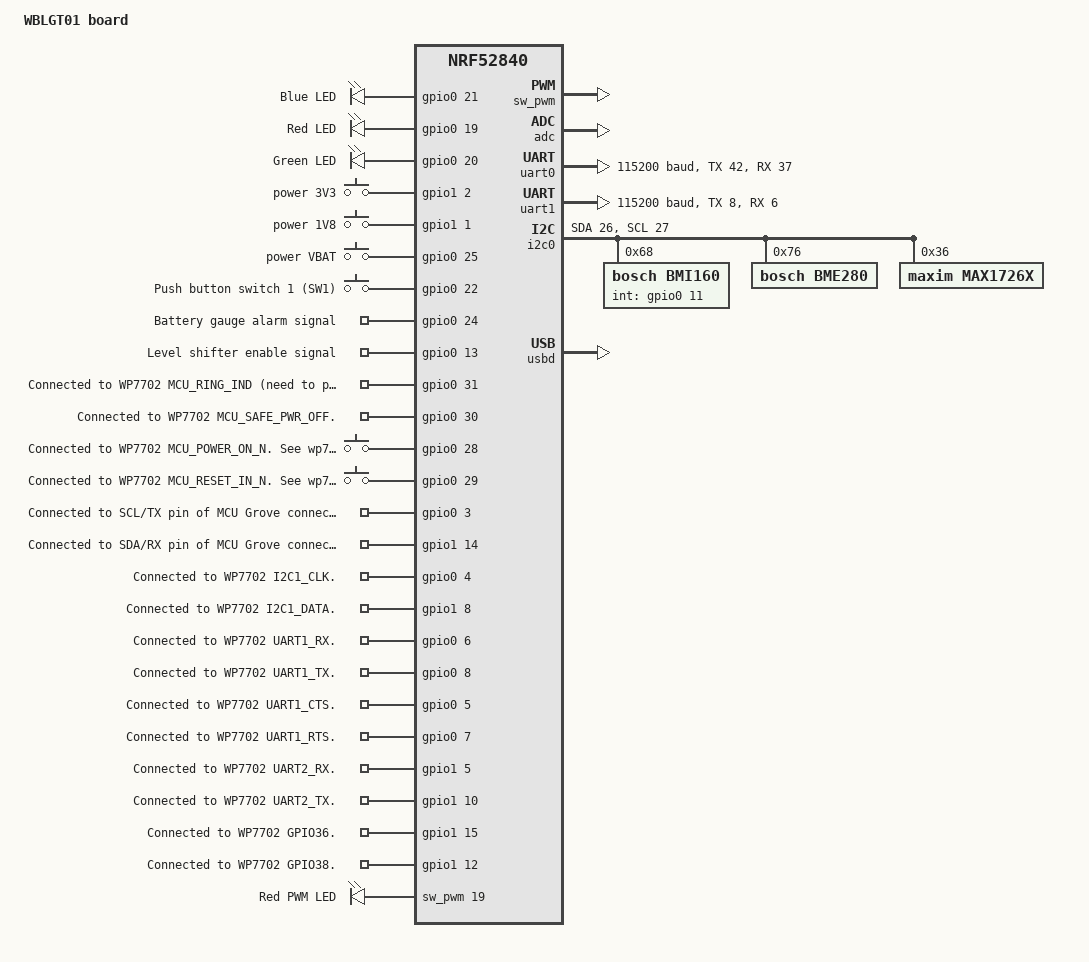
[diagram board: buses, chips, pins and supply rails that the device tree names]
/*
 * Copyright (c) 2019 Laird Connectivity
 *
 * SPDX-License-Identifier: Apache-2.0
 */

/dts-v1/;
#include <nordic/nrf52840_qiaa.dtsi>

/ {
	model = "WBLGT01 board";
	compatible = "nordic,pca10056-dk";

	chosen {
		zephyr,console = &uart0;
		zephyr,uart-mcumgr = &uart0;
		zephyr,bt-mon-uart = &uart0;
		zephyr,bt-c2h-uart = &uart0;
		zephyr,sram = &sram0;
		zephyr,flash = &flash0;
		zephyr,code-partition = &slot0_partition;
	};

	/* Use to control leds with the GPIO driver */
	leds {
		compatible = "gpio-leds";
		led1: led_1 {
			gpios = <&gpio0 21 0>;
			label = "Blue LED";
		};
		led2: led_2 {
			gpios = <&gpio0 19 0>;
			label = "Red LED";
		};
		led3: led_3 {
			gpios = <&gpio0 20 0>;
			label = "Green LED";
		};
	};

	power {
		compatible = "gpio-keys";
		power3v3: power_3v3 {
			gpios = <&gpio1 2 0>;
			label = "power 3V3";
		};
		power1v8: power_1v8 {
			gpios = <&gpio1 1 0>;
			label = "power 1V8";
		};
		powerVbat: power_Vbat {
			gpios = <&gpio0 25 0>;
			label = "power VBAT";
		};
	};

	buttons {
		compatible = "gpio-keys";
		button1: button_1 {
			gpios = <&gpio0 22 0>;
			label = "Push button switch 1 (SW1)";
		};
	};

	/* todo : s1613 - Implement drivers support like i2c in the device tree.
	 * This device tree for now is minimalist and only configures the GPIOs.
	 * https://docs.zephyrproject.org/latest/guides/dts/howtos.html
	 */
	battery_alarm {
		compatible = "gpio-keys";
		battery_alarm: battery_alarm {
			gpios = <&gpio0 24 0>;
			label = "Battery gauge alarm signal";
		};
	};

	lvlshifter {
		compatible = "gpio-keys";
		lvlshifter: lvlshifter {
			gpios = <&gpio0 13 0>;
			label = "Level shifter enable signal";
		};
	};

	SENS_GPIO {
		compatible = "gpio-keys";
		sens_gpio1: SENS_GPIO_1 {
			gpios = <&gpio0 31 0>;
			label = "Connected to WP7702 MCU_RING_IND (need to place R209 on schema).";
		};
		sens_gpio2: SENS_GPIO_2 {
			gpios = <&gpio0 30 0>;
			label = "Connected to WP7702 MCU_SAFE_PWR_OFF.";
		};
		sens_gpio3: SENS_GPIO_3 {
			gpios = <&gpio0 28 0>;
			label = "Connected to WP7702 MCU_POWER_ON_N. See wp77xx.cpp to drive MCU power on.";
		};
		sens_gpio4: SENS_GPIO_4 {
			gpios = <&gpio0 29 0>;
			label = "Connected to WP7702 MCU_RESET_IN_N. See wp77xx.cpp to drive MCU reset.";
		};

// Used for grove connector uart shall be commented if using uart
		sens_gpio5: SENS_GPIO_5 {
			gpios = <&gpio0 3 0>;
			label = "Connected to SCL/TX pin of MCU Grove connector";
		};
		sens_gpio6: SENS_GPIO_6 {
			gpios = <&gpio1 14 0>;
			label = "Connected to SDA/RX pin of MCU Grove connector";
		};

// Used for I2C bridge between WP7702 and nRF, if the I2C bridge is not used the IO should be disconnected.
		sens_i2c_slave_scl: SENS_I2C_SLAVE_SCL {
			gpios = <&gpio0 4 0>;
			label = "Connected to WP7702 I2C1_CLK.";
		};

		sens_i2c_slave_sda: SENS_I2C_SLAVE_SDA {
			gpios = <&gpio1 8 0>;
			label = "Connected to WP7702 I2C1_DATA.";
		};

		sens_uart_hci_rx: SENS_UART_HCI_RX {
			gpios = <&gpio0 6 0>;
			label = "Connected to WP7702 UART1_RX.";
		};

		sens_uart_hci_tx: SENS_UART_HCI_TX {
			gpios = <&gpio0 8 0>;
			label = "Connected to WP7702 UART1_TX.";
		};

		sens_uart_hci_cts: SENS_UART_HCI_CTS {
			gpios = <&gpio0 5 0>;
			label = "Connected to WP7702 UART1_CTS.";
		};

		sens_uart_hci_rts: SENS_UART_HCI_RTS {
			gpios = <&gpio0 7 0>;
			label = "Connected to WP7702 UART1_RTS.";
		};

		sens_uart_console_rx: SENS_UART_CONSOLE_RX {
			gpios = <&gpio1 5 0>;
			label = "Connected to WP7702 UART2_RX.";
		};

		sens_uart_console_tx: SENS_UART_CONSOLE_TX {
			gpios = <&gpio1 10 0>;
			label = "Connected to WP7702 UART2_TX.";
		};
	};

	SENS_INT {
// In standalone config, these IOs should be disconnected. In standard mode, these IOs should be configured as OUTPUT and initialize at LLOW.
		compatible = "gpio-keys";
		sens_int1: SENS_INT_1 {
			gpios = <&gpio1 15 0>;
			label = "Connected to WP7702 GPIO36.";
		};

		sens_int2: SENS_INT_2 {
			gpios = <&gpio1 12 0>;
			label = "Connected to WP7702 GPIO38.";
		};
	};

	/* Use to control leds with the PWM-LEDS driver */
	pwmleds {
		compatible = "pwm-leds";
		pwm_led0: pwm_led_0 {
			pwms = <&sw_pwm 19>;
			label = "Red PWM LED";
		};
	};

	aliases {
		/* These aliases are provided for compatibility with samples */
		led0 = &led1;
		led1 = &led2;
		led2 = &led3;
		sw0 = &button1;
		/* These aliases are provided to improve code readability */
		led-red = &led2;
		led-green = &led3;
		led-blue = &led1;
		red-pwm-led = &pwm_led0;
	};
};

/* The RTC is used instead of nordic Timer due to power consumption contrainst.
 * It means there is only 2 PWM channels instead of 3 (with a timer)
 * and the prescaler has to be set to 0
 */
&sw_pwm {
	compatible = "nordic,nrf-sw-pwm";
	status = "okay";
	label = "SW_PWM";
	generator = <&rtc0>;
	channel-count = <2>;
	clock-prescaler = <0>;
	ppi-base = <0>;
	gpiote-base = <0>;
	#pwm-cells = <1>;
};

&adc {
	status = "okay";
};

&gpiote {
	status = "okay";
};

&gpio0 {
	status = "okay";
};

&gpio1 {
	status = "okay";
};

&uart0 {
	compatible = "nordic,nrf-uart";
	current-speed = <115200>;
	status = "okay";
	tx-pin = <42>;
	rx-pin = <37>;
};

// Uart to wp77
&uart1 {
	current-speed = <115200>;
	status = "okay";
	tx-pin = <8>;
	rx-pin = <6>;
};

//Uart to grove
/* &uart1 {
	current-speed = <115200>;
	status = "okay";
	tx-pin = <3>;
	rx-pin = <46>;
}; */


&i2c0 {
	compatible = "nordic,nrf-twi";
	status = "okay";
	sda-pin = <26>;
	scl-pin = <27>;
	bmi160:bmi160@68 {
		compatible = "bosch,bmi160";
		reg = <0x68>;
		int-gpios = <&gpio0 11 0>;
		label = "BMI160";
	};
	bme280:bme280@76 {
		compatible = "bosch,bme280";
		reg = <0x76>;
		label = "BME280";
	};
	max17260:max17260@36 {
		compatible = "maxim,max1726x";
		reg = <0x36>;
		label = "MAX1726X";
		design-voltage = <3600>;
		desired-voltage = <4200>;
		desired-charging-current = <89>;
		design-cap = <2160>;
		rsense-mohms = <1>;
		empty-voltage = <3600>;
		recovery-voltage = <3700>;
		charge-voltage = <4200>;
		hibernate-threshold = <12>;
		hibernate-scalar = <4>;
		hibernate-exit-time = <3>;
		hibernate-enter-time = <0>;
		status = "okay";
	};
};

/*
&i2c1 {
	compatible = "nordic,nrf-twi";
	status = "okay";
	sda-pin = <40>;
	scl-pin = <4>;
};
*/

&flash0 {

	partitions {
		compatible = "fixed-partitions";
		#address-cells = <1>;
		#size-cells = <1>;

		boot_partition: partition@0 {
			label = "mcuboot";
			reg = <0x000000000 0x0003a000>;
		};
		slot0_partition: partition@3a000 {
			label = "image-0";
			reg = <0x0003a000 0x000be000>;
		};
		/*
		 * Phantom partition: DO NOT USE
		 * Only here to allow SMP server flags building
		 * For more details see internal Gitlab project 'aurora' (README.md)
		 */
		slot1_partition: partition@3a001 {
			label = "image-1";
			reg = <0x0003a001 0x00000001>;
		};

		/*
		 * The flash starting at 0x000f8000 and ending at
		 * 0x000fffff is reserved for use by the application.
		 */

		/*
		 * Storage partition will be used by FCB/LittleFS/NVS
		 * if enabled.
		 */
		storage_partition: partition@f8000 {
			label = "storage";
			reg = <0x000f8000 0x00008000>;
		};
	};
};

&usbd {
	compatible = "nordic,nrf-usbd";
	status = "okay";
};
